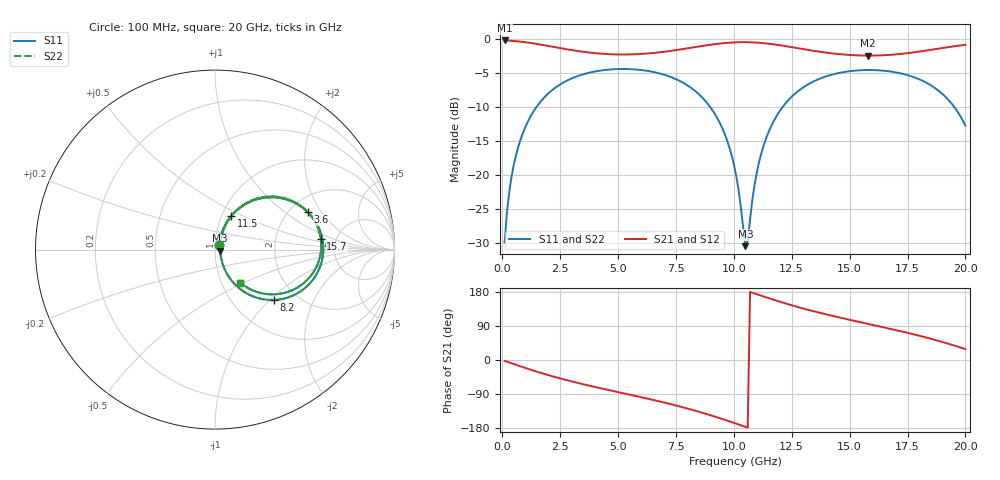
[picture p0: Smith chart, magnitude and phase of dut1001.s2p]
! Touchstone file exported from HFSS 2026.1.0
!  File:  C:/ffzhzh/LocalFiles/Ansys_Project_Files/temp_train_TSV_RDL_1001_1783290024_5512.aedt
!  Generated:  06:35:54 AM Jul  6, 2026
!  Design:  TSV_RDL
!  Project:  temp_train_TSV_RDL_1001_1783290024_5512
! Variables:
!  h_bsmrdl = 4.92um
!  h_ox = 20um
!  h_rdl = 5um
!  h_sub = 54.12um
!  h_tmrdl = 5.6um
!  h_tsv = 54.12um
!  h_via = 3um
!  l_bsmrdl = 723.08um
!  l_sub = 6080.22um
!  l_tmrdl = 847.01um
!  m_sub = 200um
!  pitch = 54.98um
!  r_tsv = 7.62um
!  s_tmrdl = 10um
!  w_bsmrdl = 23.18um
!  w_sub = 500um
!  w_tmrdl = 17.8um
!  x_tsv_center1 = 855.91um
!  x_tsv_center2 = 1602.17um
!  x_tsv_center3 = 2466.98um
!  x_tsv_center4 = 3213.24um
!  x_tsv_center5 = 4078.05um
!  x_tsv_center6 = 4824.31um
# GHz S MA R 50.000000
! Terminal data exported
! Port[1] = TM_RDL1_1_T1
! Port[2] = TM_RDL5_1_T1
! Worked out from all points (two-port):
!   200 points, 100 MHz to 20 GHz, reference 50 ohm
!   highest |S21| = -0.18 dB at 100 MHz (marker M1); lowest = -2.4 dB at 15.8 GHz (marker M2)
!   |S21| within 3 dB of the highest: start of sweep to end of sweep
!   lowest |S11| = -30.5 dB at 10.5 GHz (marker M3), VSWR 1.06, Z = 53 - j0.626 ohm
!   |S11| at or under -10 dB: start of sweep to 1.477 GHz; 8.979 GHz to 12.11 GHz (3.129 GHz wide, 29.7 % of centre); 19.52 GHz to end of sweep
!   |S22| runs from -30.6 to -4.4 dB; largest |S21 - S12| = 1.6e-14
!   S11 on the Smith chart (normalised r, x): 100 MHz: 1.04, +0.05; 3.6 GHz: 2.49, +1.51; 8.2 GHz: 1.54, -1.06; 11.5 GHz: 1.11, +0.43; 15.7 GHz: 3.78, +0.67; 20 GHz: 1.22, -0.47
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0.1  0.03176 48.7  0.9797 -2.2  0.9797 -2.2  0.03176 48.7
! Gamma 0 0 0 0
! Port Impedance 50 0 50 0
0.3  0.07483 66.7  0.9758 -6.5  0.9758 -6.5  0.07483 66.7
0.5  0.1192 68.4  0.9707 -10.8  0.9707 -10.8  0.1192 68.4
1.1  0.2459 61.3  0.9457 -23.1  0.9457 -23.1  0.2459 61.3
2.1  0.4141 44.6  0.8849 -41.9  0.8849 -41.9  0.4141 44.6
3.5  0.5516 23.4  0.8079 -64.1  0.8079 -64.1  0.5516 23.4
3.6  0.5578 22.0  0.8039 -65.5  0.8039 -65.5  0.5578 22.0
5.2  0.6035 1.0  0.7715 -87.4  0.7715 -87.4  0.6035 1.0
6.8  0.5593 -20.0  0.8012 -109.4  0.8012 -109.4  0.5593 -20.0
8.2  0.4322 -40.5  0.8683 -131.5  0.8683 -131.5  0.4322 -40.5
9.4  0.2401 -59.0  0.9297 -153.7  0.9297 -153.7  0.2401 -59.0
10.1  0.09873 -62.7  0.9496 -168.0  0.9496 -168.0  0.09868 -62.8
10.5  0.02974 -11.4  0.9518 -176.3  0.9518 -176.3  0.02962 -11.4
10.6  0.03256 27.5  0.9513 -178.4  0.9513 -178.4  0.03247 27.7
11  0.1058 66.2  0.9445 173.3  0.9445 173.3  0.1058 66.3
11.5  0.2066 64.2  0.9272 163.2  0.9272 163.2  0.2066 64.2
13.4  0.4843 36.0  0.8241 129.3  0.8241 129.3  0.4843 36.1
15.7  0.5927 5.5  0.7576 96.6  0.7576 96.6  0.5927 5.6
15.8  0.593 4.3  0.7574 95.3  0.7574 95.3  0.593 4.3
16.7  0.5802 -7.1  0.7662 83.1  0.7662 83.1  0.5802 -7.1
18.7  0.4348 -34.6  0.8452 52.8  0.8452 52.8  0.4348 -34.6
20  0.2306 -52.7  0.9098 28.8  0.9098 28.8  0.2307 -52.7
